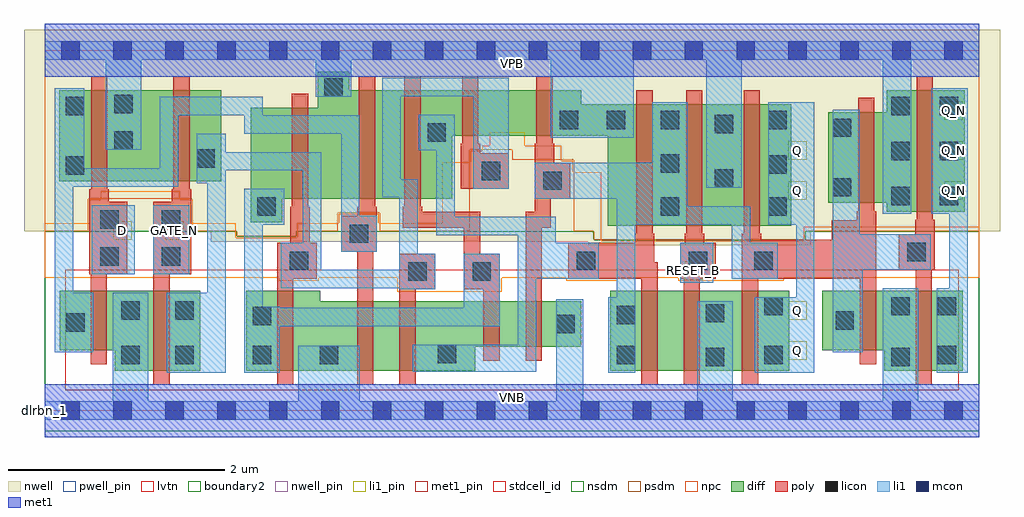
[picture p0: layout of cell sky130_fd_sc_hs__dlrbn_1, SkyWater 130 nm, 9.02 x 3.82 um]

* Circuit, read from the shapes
.subckt sky130_fd_sc_hs__dlrbn_1 D GATE_N Q Q_N RESET_B VGND VNB VPB VPWR
XM1 VGND D n1 VNB sky130_fd_pr__nfet_01v8_lvt w=0.55 l=0.15
XM2 n2 GATE_N VGND VNB sky130_fd_pr__nfet_01v8_lvt w=0.74 l=0.15
XM3 VGND n2 n3 VNB sky130_fd_pr__nfet_01v8_lvt w=0.74 l=0.15
XM4 n4 n1 VGND VNB sky130_fd_pr__nfet_01v8_lvt w=0.64 l=0.15
XM5 n5 n2 n4 VNB sky130_fd_pr__nfet_01v8_lvt w=0.64 l=0.15
XM6 n6 n3 n5 VNB sky130_fd_pr__nfet_01v8_lvt w=0.42 l=0.15
XM7 VGND n7 n6 VNB sky130_fd_pr__nfet_01v8_lvt w=0.42 l=0.15
XM8 n8 n5 n7 VNB sky130_fd_pr__nfet_01v8_lvt w=0.74 l=0.15
XM9 VGND RESET_B n8 VNB sky130_fd_pr__nfet_01v8_lvt w=0.74 l=0.15
XM10 Q n7 VGND VNB sky130_fd_pr__nfet_01v8_lvt w=0.74 l=0.15
XM11 VGND n7 n9 VNB sky130_fd_pr__nfet_01v8_lvt w=0.55 l=0.15
XM12 Q_N n9 VGND VNB sky130_fd_pr__nfet_01v8_lvt w=0.74 l=0.15
XM13 VPWR D n1 VPB sky130_fd_pr__pfet_01v8 w=0.84 l=0.15
XM14 n2 GATE_N VPWR VPB sky130_fd_pr__pfet_01v8 w=0.84 l=0.15
XM15 VPWR n2 n3 VPB sky130_fd_pr__pfet_01v8 w=0.84 l=0.15
XM16 n10 n1 VPWR VPB sky130_fd_pr__pfet_01v8 w=1 l=0.15
XM17 n5 n3 n10 VPB sky130_fd_pr__pfet_01v8 w=1 l=0.15
XM18 n11 n2 n5 VPB sky130_fd_pr__pfet_01v8 w=0.42 l=0.15
XM19 VPWR n7 n11 VPB sky130_fd_pr__pfet_01v8 w=0.42 l=0.15
XM20 n7 n5 VPWR VPB sky130_fd_pr__pfet_01v8 w=1.12 l=0.15
XM21 VPWR RESET_B n7 VPB sky130_fd_pr__pfet_01v8 w=1.12 l=0.15
XM22 Q n7 VPWR VPB sky130_fd_pr__pfet_01v8 w=1.12 l=0.15
XM23 VPWR n7 n9 VPB sky130_fd_pr__pfet_01v8 w=0.84 l=0.15
XM24 Q_N n9 VPWR VPB sky130_fd_pr__pfet_01v8 w=1.12 l=0.15
.ends

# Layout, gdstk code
import gdstk
lib = gdstk.Library(unit=1e-6, precision=1e-09)
def R(c, l, rs):  # rectangles x0, y0, x1, y1
    for r in rs: c.add(gdstk.rectangle(r[:2], r[2:], *l))
def A(c, l, x, y, w, h, nx, ny, dx, dy):  # array of equal rectangles
    R(c, l, [(x+i*dx, y+j*dy, x+i*dx+w, y+j*dy+h) for i in range(nx) for j in range(ny)])
def P(c, l, *ps):  # polygons
    for p in ps: c.add(gdstk.Polygon(p, *l))
nwell_pin = (64, 16)
nwell = (64, 20)
diff = (65, 20)
poly = (66, 20)
licon = (66, 44)
li1_pin = (67, 16)
li1 = (67, 20)
mcon = (67, 44)
met1_pin = (68, 16)
met1 = (68, 20)
stdcell_id = (81, 4)
nsdm = (93, 44)
psdm = (94, 20)
npc = (95, 20)
pwell_pin = (122, 16)
lvtn = (125, 44)
boundary2 = (236, 0)

sky130_fd_sc_hs__dlrbn_1 = lib.new_cell('sky130_fd_sc_hs__dlrbn_1')
R(sky130_fd_sc_hs__dlrbn_1, nwell_pin, [(0,3.085,8.64,3.33)])
P(sky130_fd_sc_hs__dlrbn_1, nwell, [(8.83,3.52),(-0.19,3.52),(-0.19,1.66),(1.535,1.66),(1.535,1.56),(5.025,1.56),(5.025,1.53),(7.08,1.53),(7.08,1.66),(8.83,1.66)])
R(sky130_fd_sc_hs__dlrbn_1, diff, [(5.23,0.37,6.88,1.11), (0.135,2.12,1.635,2.96)])
P(sky130_fd_sc_hs__dlrbn_1, diff, [(1.44,1.11),(0.14,1.11),(0.14,0.56),(0.65,0.56),(0.65,0.37),(1.44,0.37)],
  [(4.96,1.01),(2.55,1.01),(2.55,1.11),(1.865,1.11),(1.865,0.37),(3.98,0.37),(3.98,0.59),(4.96,0.59)],
  [(6.9,2.83),(4.96,2.83),(4.96,2.96),(2.815,2.96),(2.815,3.13),(2.525,3.13),(2.525,2.8),(1.905,2.8),(1.905,1.74),(2.195,1.74),(2.195,1.96),(3.77,1.96),(3.77,2.54),(5.205,2.54),(5.205,1.71),(6.9,1.71)],
  [(8.485,1.11),(7.185,1.11),(7.185,0.56),(7.76,0.56),(7.76,0.37),(8.485,0.37)],
  [(8.505,2.96),(7.785,2.96),(7.785,2.76),(7.245,2.76),(7.245,1.92),(7.785,1.92),(7.785,1.84),(8.505,1.84)])
P(sky130_fd_sc_hs__dlrbn_1, poly, [(8.225,1.765),(8.21,1.765),(8.21,3.09),(8.06,3.09),(8.06,1.765),(8.045,1.765),(8.045,1.63),(7.895,1.63),(7.895,1.3),(8.05,1.3),(8.05,0.24),(8.2,0.24),(8.2,1.3),(8.225,1.3)],
  [(7.685,1.845),(7.67,1.845),(7.67,2.89),(7.52,2.89),(7.52,1.845),(7.505,1.845),(7.505,1.76),(7.275,1.76),(7.275,1.58),(6.625,1.58),(6.625,1.635),(6.61,1.635),(6.61,2.96),(6.46,2.96),(6.46,1.635),(6.445,1.635),(6.445,0.24),(6.595,0.24),(6.595,1.22),(7.535,1.22),(7.535,0.43),(7.685,0.43)],
  [(6.205,1.55),(6.095,1.55),(6.095,1.635),(6.08,1.635),(6.08,2.96),(5.93,2.96),(5.93,1.635),(5.915,1.635),(5.915,1.55),(5.875,1.55),(5.875,1.22),(5.905,1.22),(5.905,0.24),(6.055,0.24),(6.055,1.22),(6.205,1.22)],
  [(5.665,1.37),(5.635,1.37),(5.635,1.635),(5.62,1.635),(5.62,2.96),(5.47,2.96),(5.47,1.635),(5.455,1.635),(5.455,1.55),(4.84,1.55),(4.84,1.22),(5.515,1.22),(5.515,0.24),(5.665,0.24)],
  [(4.86,2.29),(4.71,2.29),(4.71,2.465),(4.695,2.465),(4.695,3.09),(4.545,3.09),(4.545,2.465),(4.53,2.465),(4.53,1.84),(4.445,1.84),(4.445,0.46),(4.595,0.46),(4.595,1.69),(4.68,1.69),(4.68,1.96),(4.86,1.96)],
  [(4.29,2.38),(4.025,2.38),(4.025,2.465),(4.01,2.465),(4.01,3.09),(3.86,3.09),(3.86,2.465),(3.845,2.465),(3.845,2.05),(4.29,2.05)],
  [(4.205,1.45),(4.025,1.45),(4.025,1.84),(3.49,1.84),(3.49,1.885),(3.475,1.885),(3.475,3.09),(3.325,3.09),(3.325,1.885),(3.31,1.885),(3.31,1.69),(3.875,1.69),(3.875,1.12),(4.055,1.12),(4.055,0.46),(4.205,0.46)],
  [(3.61,1.45),(3.28,1.45),(3.28,0.24),(3.43,0.24),(3.43,1.12),(3.61,1.12)],
  [(3.07,1.885),(3.055,1.885),(3.055,3.09),(2.905,3.09),(2.905,1.885),(2.89,1.885),(2.89,1.8),(2.74,1.8),(2.74,1.47),(2.89,1.47),(2.89,0.24),(3.04,0.24),(3.04,1.47),(3.07,1.47)],
  [(2.515,1.55),(2.45,1.55),(2.45,1.885),(2.435,1.885),(2.435,2.93),(2.285,2.93),(2.285,1.885),(2.27,1.885),(2.27,1.55),(2.15,1.55),(2.15,0.24),(2.3,0.24),(2.3,1.22),(2.515,1.22)],
  [(1.355,2.045),(1.34,2.045),(1.34,3.09),(1.19,3.09),(1.19,2.045),(1.175,2.045),(1.175,1.93),(1.005,1.93),(1.005,0.24),(1.155,0.24),(1.155,1.26),(1.355,1.26)],
  [(0.765,1.93),(0.595,1.93),(0.595,2.045),(0.58,2.045),(0.58,3.09),(0.43,3.09),(0.43,2.045),(0.415,2.045),(0.415,1.26),(0.425,1.26),(0.425,0.43),(0.575,0.43),(0.575,1.26),(0.765,1.26)])
A(sky130_fd_sc_hs__dlrbn_1, licon, 5.695, 1.8, 0.17, 0.17, 1, 3, 0, 0.4)
A(sky130_fd_sc_hs__dlrbn_1, licon, 7.825, 1.9, 0.17, 0.17, 1, 3, 0, 0.415)
A(sky130_fd_sc_hs__dlrbn_1, licon, 8.275, 1.9, 0.17, 0.17, 1, 3, 0, 0.415)
R(sky130_fd_sc_hs__dlrbn_1, licon, [(6.11,0.41,6.28,0.58), (7.825,0.41,7.995,0.58), (0.71,0.43,0.88,0.6), (1.21,0.43,1.38,0.6), (1.925,0.43,2.095,0.6), (2.545,0.43,2.715,0.6), (5.29,0.43,5.46,0.6), (6.65,0.43,6.82,0.6), (8.255,0.43,8.425,0.6), (3.635,0.44,3.805,0.61), (4.73,0.715,4.9,0.885), (0.2,0.73,0.37,0.9), (7.31,0.75,7.48,0.92), (1.925,0.79,2.095,0.96), (5.29,0.8,5.46,0.97), (6.11,0.815,6.28,0.985), (0.71,0.84,0.88,1.01), (1.21,0.84,1.38,1.01), (6.65,0.88,6.82,1.05), (7.825,0.88,7.995,1.05), (8.255,0.88,8.425,1.05), (3.36,1.2,3.53,1.37), (3.955,1.2,4.125,1.37), (2.265,1.3,2.435,1.47), (4.92,1.3,5.09,1.47), (5.955,1.3,6.125,1.47), (6.56,1.3,6.73,1.47), (0.515,1.34,0.685,1.51), (1.085,1.34,1.255,1.51), (7.975,1.38,8.145,1.55), (2.82,1.55,2.99,1.72), (0.515,1.68,0.685,1.85), (1.085,1.68,1.255,1.85), (1.965,1.8,2.135,1.97), (6.69,1.8,6.86,1.97), (7.285,1.98,7.455,2.15), (4.61,2.04,4.78,2.21), (6.195,2.06,6.365,2.23), (4.04,2.13,4.21,2.3), (0.195,2.18,0.365,2.35), (6.69,2.19,6.86,2.36), (1.405,2.245,1.575,2.415), (0.645,2.41,0.815,2.58), (3.54,2.485,3.71,2.655), (7.285,2.53,7.455,2.7), (6.195,2.565,6.365,2.735), (4.76,2.6,4.93,2.77), (5.195,2.6,5.365,2.77), (6.69,2.6,6.86,2.77), (0.195,2.73,0.365,2.9), (0.645,2.75,0.815,2.92), (2.585,2.9,2.755,3.07)])
A(sky130_fd_sc_hs__dlrbn_1, li1_pin, 8.315, 1.95, 0.17, 0.17, 1, 3, 0, 0.37)
R(sky130_fd_sc_hs__dlrbn_1, li1_pin, [(6.875,0.47,7.045,0.64), (6.875,0.84,7.045,1.01), (5.915,1.21,6.085,1.38), (0.635,1.58,0.805,1.75), (1.115,1.58,1.285,1.75), (6.875,1.95,7.045,2.12), (6.875,2.32,7.045,2.49)])
R(sky130_fd_sc_hs__dlrbn_1, li1, [(5.875,1.18,6.18,1.55), (0.435,1.26,0.835,1.9), (1.005,1.26,1.335,1.9)])
P(sky130_fd_sc_hs__dlrbn_1, li1, [(0,-0.085),(0,0.085),(0.63,0.085),(0.63,1.09),(0.96,1.09),(0.96,0.085),(2.345,0.085),(2.345,0.6),(2.915,0.6),(2.915,0.085),(4.73,0.085),(4.73,1.03),(4.98,1.03),(4.98,0.085),(6.03,0.085),(6.03,1.01),(6.36,1.01),(6.36,0.085),(7.745,0.085),(7.745,1.13),(8.075,1.13),(8.075,0.085),(8.64,0.085),(8.64,-0.085)],
  [(0,3.245),(0,3.415),(8.64,3.415),(8.64,3.245),(8.01,3.245),(8.01,1.82),(7.745,1.82),(7.745,3.245),(6.445,3.245),(6.445,2.06),(6.115,2.06),(6.115,3.245),(5.445,3.245),(5.445,2.52),(4.68,2.52),(4.68,3.245),(2.835,3.245),(2.835,2.9),(2.505,2.9),(2.505,3.245),(0.895,3.245),(0.895,2.41),(0.565,2.41),(0.565,3.245)],
  [(8.195,1.82),(8.195,2.98),(8.53,2.98),(8.53,0.35),(8.245,0.35),(8.245,1.13),(8.36,1.13),(8.36,1.82)],
  [(7.115,2.85),(6.69,2.85),(6.69,1.72),(6.945,1.72),(6.945,1.05),(6.565,1.05),(6.565,0.35),(7.115,0.35)],
  [(7.535,1.63),(8.19,1.63),(8.19,1.3),(7.56,1.3),(7.56,0.54),(7.285,0.54),(7.285,2.78),(7.535,2.78)],
  [(5.29,1.05),(5.29,1.96),(4.53,1.96),(4.53,2.29),(5.615,2.29),(5.615,2.85),(5.945,2.85),(5.945,1.89),(6.52,1.89),(6.52,1.55),(6.775,1.55),(6.775,1.22),(6.35,1.22),(6.35,1.72),(5.46,1.72),(5.46,0.35),(5.21,0.35),(5.21,1.05)],
  [(0.265,2.07),(0.265,1.09),(0.45,1.09),(0.45,0.54),(0.095,0.54),(0.095,2.98),(0.365,2.98),(0.365,2.24),(1.065,2.24),(1.065,2.9),(2.015,2.9),(2.015,2.73),(2.91,2.73),(2.91,1.8),(3.07,1.8),(3.07,1.47),(2.74,1.47),(2.74,2.56),(1.845,2.56),(1.845,2.73),(1.235,2.73),(1.235,2.07)],
  [(5.12,1.55),(4.725,1.55),(4.725,1.79),(3.79,1.79),(3.79,2.735),(3.46,2.735),(3.46,2.405),(3.62,2.405),(3.62,1.62),(4.375,1.62),(4.375,0.61),(3.405,0.61),(3.405,0.36),(4.545,0.36),(4.545,1.22),(5.12,1.22)],
  [(1.845,2.05),(2.215,2.05),(2.215,1.72),(2.015,1.72),(2.015,0.96),(2.175,0.96),(2.175,0.95),(3.875,0.95),(3.875,1.45),(4.205,1.45),(4.205,0.78),(2.175,0.78),(2.175,0.35),(1.845,0.35)],
  [(1.505,1.09),(1.505,2.1),(1.405,2.1),(1.405,2.56),(1.675,2.56),(1.675,2.39),(2.555,2.39),(2.555,1.3),(3.28,1.3),(3.28,1.97),(3.12,1.97),(3.12,3.075),(4.29,3.075),(4.29,2.05),(3.96,2.05),(3.96,2.905),(3.29,2.905),(3.29,2.14),(3.45,2.14),(3.45,1.45),(3.61,1.45),(3.61,1.12),(3.28,1.12),(3.28,1.13),(2.185,1.13),(2.185,1.55),(2.385,1.55),(2.385,2.22),(1.675,2.22),(1.675,0.35),(1.13,0.35),(1.13,1.09)])
A(sky130_fd_sc_hs__dlrbn_1, mcon, 0.155, -0.085, 0.17, 0.17, 18, 2, 0.48, 3.33)
R(sky130_fd_sc_hs__dlrbn_1, met1_pin, [(0,0,8.64,0.245), (0,3.085,8.64,3.33)])
R(sky130_fd_sc_hs__dlrbn_1, met1, [(0,-0.245,8.64,0.245), (0,3.085,8.64,3.575)])
R(sky130_fd_sc_hs__dlrbn_1, stdcell_id, [(0,0,8.64,3.33)])
P(sky130_fd_sc_hs__dlrbn_1, nsdm, [(8.64,1.66),(7.03,1.66),(7.03,1.58),(5.075,1.58),(5.075,1.66),(2.325,1.66),(2.325,1.61),(1.775,1.61),(1.775,1.66),(0,1.66),(0,-0.19),(8.64,-0.19)])
P(sky130_fd_sc_hs__dlrbn_1, psdm, [(8.64,3.52),(0,3.52),(0,1.66),(0.405,1.66),(0.405,1.96),(1.365,1.96),(1.365,1.66),(1.775,1.66),(1.775,1.61),(2.325,1.61),(2.325,1.66),(2.71,1.66),(2.71,1.83),(3.1,1.83),(3.1,1.66),(3.93,1.66),(3.93,2.41),(4.32,2.41),(4.32,2.32),(4.89,2.32),(4.89,1.66),(5.075,1.66),(5.075,1.58),(7.03,1.58),(7.03,1.66),(8.64,1.66)])
P(sky130_fd_sc_hs__dlrbn_1, npc, [(8.64,1.7),(7.015,1.7),(7.015,1.57),(5.145,1.57),(5.145,2.205),(4.88,2.205),(4.88,2.31),(4.775,2.31),(4.775,2.45),(4.44,2.45),(4.44,2.575),(4.115,2.575),(4.115,2.45),(4.045,2.45),(4.045,2.4),(3.94,2.4),(3.94,2.295),(3.675,2.295),(3.675,1.73),(3.09,1.73),(3.09,1.82),(2.72,1.82),(2.72,1.73),(2.335,1.73),(2.335,1.6),(1.765,1.6),(1.765,1.73),(1.355,1.73),(1.355,1.95),(1.25,1.95),(1.25,2.03),(0.52,2.03),(0.52,1.95),(0.415,1.95),(0.415,1.73),(0,1.73),(0,1.23),(2.165,1.23),(2.165,1.2),(2.535,1.2),(2.535,1.23),(3.26,1.23),(3.26,1.1),(4.225,1.1),(4.225,1.23),(4.82,1.23),(4.82,1.2),(5.295,1.2),(5.295,1.23),(5.855,1.23),(5.855,1.2),(6.83,1.2),(6.83,1.23),(8.64,1.23)])
R(sky130_fd_sc_hs__dlrbn_1, pwell_pin, [(0,0,8.64,0.245)])
R(sky130_fd_sc_hs__dlrbn_1, lvtn, [(0.19,0.19,8.45,1.3)])
R(sky130_fd_sc_hs__dlrbn_1, boundary2, [(0,0,8.64,3.33)])
sky130_fd_sc_hs__dlrbn_1.add(gdstk.Label('dlrbn_1', (0,0), layer=83, texttype=44))
sky130_fd_sc_hs__dlrbn_1.add(gdstk.Label('VNB', (4.32,0.123), layer=64, texttype=59))
sky130_fd_sc_hs__dlrbn_1.add(gdstk.Label('VPB', (4.32,3.208), layer=64, texttype=5))
sky130_fd_sc_hs__dlrbn_1.add(gdstk.Label('VPWR', (4.32,3.208), layer=68, texttype=5))
sky130_fd_sc_hs__dlrbn_1.add(gdstk.Label('VGND', (4.32,0.123), layer=68, texttype=5))
sky130_fd_sc_hs__dlrbn_1.add(gdstk.Label('Q_N', (8.4,2.035), layer=67, texttype=5))
sky130_fd_sc_hs__dlrbn_1.add(gdstk.Label('Q_N', (8.4,2.405), layer=67, texttype=5))
sky130_fd_sc_hs__dlrbn_1.add(gdstk.Label('Q_N', (8.4,2.775), layer=67, texttype=5))
sky130_fd_sc_hs__dlrbn_1.add(gdstk.Label('Q', (6.96,0.555), layer=67, texttype=5))
sky130_fd_sc_hs__dlrbn_1.add(gdstk.Label('Q', (6.96,0.925), layer=67, texttype=5))
sky130_fd_sc_hs__dlrbn_1.add(gdstk.Label('Q', (6.96,2.035), layer=67, texttype=5))
sky130_fd_sc_hs__dlrbn_1.add(gdstk.Label('Q', (6.96,2.405), layer=67, texttype=5))
sky130_fd_sc_hs__dlrbn_1.add(gdstk.Label('GATE_N', (1.2,1.665), layer=67, texttype=5))
sky130_fd_sc_hs__dlrbn_1.add(gdstk.Label('RESET_B', (6,1.295), layer=67, texttype=5))
sky130_fd_sc_hs__dlrbn_1.add(gdstk.Label('D', (0.72,1.665), layer=67, texttype=5))

lib.write_gds('sky130_fd_sc_hs__dlrbn_1.gds')
